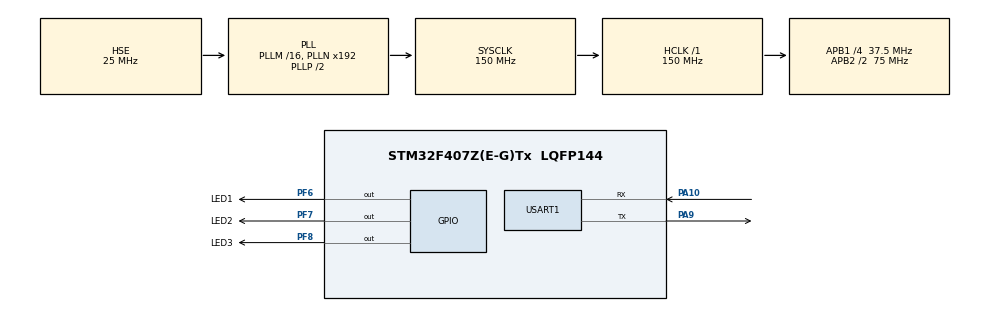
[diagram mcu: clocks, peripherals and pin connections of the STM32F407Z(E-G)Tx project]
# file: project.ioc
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Mcu.Family=STM32F4
Mcu.Name=STM32F407Z(E-G)Tx
Mcu.Package=LQFP144
NVIC.PriorityGroup=NVIC_PRIORITYGROUP_4
PA10.Mode=Asynchronous
PA10.Signal=USART1_RX
PA9.Mode=Asynchronous
PA9.Signal=USART1_TX
PF6.GPIO_Label=LED1
PF6.Signal=GPIO_Output
PF7.GPIO_Label=LED2
PF7.Signal=GPIO_Output
PF8.GPIO_Label=LED3
PF8.Signal=GPIO_Output
PH0-OSC_IN.Mode=HSE-External-Oscillator
PH0-OSC_IN.Signal=RCC_OSC_IN
PH1-OSC_OUT.Mode=HSE-External-Oscillator
PH1-OSC_OUT.Signal=RCC_OSC_OUT
ProjectManager.HeapSize=0x200
ProjectManager.StackSize=0x400
ProjectManager.TargetToolchain=STM32CubeIDE
RCC.48MHZClocksFreq_Value=75000000
RCC.AHBFreq_Value=150000000
RCC.APB1CLKDivider=RCC_HCLK_DIV4
RCC.APB1Freq_Value=37500000
RCC.APB1TimFreq_Value=75000000
RCC.APB2CLKDivider=RCC_HCLK_DIV2
RCC.APB2Freq_Value=75000000
RCC.APB2TimFreq_Value=150000000
RCC.CortexFreq_Value=150000000
RCC.HCLKFreq_Value=150000000
RCC.HSE_VALUE=25000000
RCC.HSI_VALUE=16000000
RCC.LSE_VALUE=32768
RCC.PLLSourceVirtual=RCC_PLLSOURCE_HSE
RCC.SYSCLKFreq_VALUE=150000000
RCC.SYSCLKSource=RCC_SYSCLKSOURCE_PLLCLK
RCC.VCOOutputFreq_Value=300000000
USART1.VirtualMode=VM_ASYNC
board=custom

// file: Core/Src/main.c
/* USER CODE BEGIN Header */
/**
  ******************************************************************************
  * @file           : main.c
  * @brief          : Main program body
  ******************************************************************************
  * @attention
  *
  * Copyright (c) 2026 STMicroelectronics.
  * All rights reserved.
  *
  * This software is licensed under terms that can be found in the LICENSE file
  * in the root directory of this software component.
  * If no LICENSE file comes with this software, it is provided AS-IS.
  *
  ******************************************************************************
  */
/* USER CODE END Header */
#include "main.h"

/* USER CODE BEGIN Includes */
#include <stdio.h>

/* USER CODE END Includes */

UART_HandleTypeDef huart1;

void SystemClock_Config(void);
static void MX_GPIO_Init(void);
static void MX_USART1_UART_Init(void);

/* USER CODE BEGIN 0 */

#ifdef __GNUC__
/* With GCC, small printf (option LD Linker->Libraries->Small printf
   set to 'Yes') calls __io_putchar() */
#define PUTCHAR_PROTOTYPE int __io_putchar(int ch)
#else
#define PUTCHAR_PROTOTYPE int fputc(int ch, FILE *f)
#endif /* __GNUC__ */

/**
  * @brief  Retargets the C library printf function to the USART.
  * @param  None
  * @retval None
  */
PUTCHAR_PROTOTYPE
{
    /* Place your implementation of fputc here */
    /* e.g. write a character to the USART1 and Loop until the end of transmission */

    /* Write a character to the USART */
    if(ch == '\n')
    {
        ch = '\r';
        HAL_UART_Transmit(&huart1, (uint8_t *)&ch, 1, 0xFFFF);
        ch = '\n';
        HAL_UART_Transmit(&huart1, (uint8_t *)&ch, 1, 0xFFFF);
    }else {
        HAL_UART_Transmit(&huart1, (uint8_t *)&ch, 1, 0xFFFF);
    }

    return ch;
}

void System_Information(void)
{
    printf("SYSCLK_Frequency = %d\n", HAL_RCC_GetSysClockFreq());
    printf("HCLK_Frequency = %d\n", HAL_RCC_GetHCLKFreq());
    printf("PCLK1_Frequency = %d\n", HAL_RCC_GetPCLK1Freq());
    printf("PCLK2_Frequency = %d\n", HAL_RCC_GetPCLK2Freq());
}
/* USER CODE END 0 */

int main(void)
{

  /* MCU Configuration--------------------------------------------------------*/

  /* Reset of all peripherals, Initializes the Flash interface and the Systick. */
  HAL_Init();

  /* Configure the system clock */
  SystemClock_Config();

  /* Initialize all configured peripherals */
  MX_GPIO_Init();
  MX_USART1_UART_Init();

  /* Infinite loop */
  /* USER CODE BEGIN WHILE */
  while (1)
  {
    printf("Hello World! - Mango ^)^\n");
    System_Information();
    HAL_Delay(1000);

    /* USER CODE END WHILE */

  }
}

void SystemClock_Config(void)
{
  RCC_OscInitTypeDef RCC_OscInitStruct = {0};
  RCC_ClkInitTypeDef RCC_ClkInitStruct = {0};

  /** Configure the main internal regulator output voltage
  */
  __HAL_RCC_PWR_CLK_ENABLE();
  __HAL_PWR_VOLTAGESCALING_CONFIG(PWR_REGULATOR_VOLTAGE_SCALE1);

  /** Initializes the RCC Oscillators according to the specified parameters
  * in the RCC_OscInitTypeDef structure.
  */
  RCC_OscInitStruct.OscillatorType = RCC_OSCILLATORTYPE_HSE;
  RCC_OscInitStruct.HSEState = RCC_HSE_ON;
  RCC_OscInitStruct.PLL.PLLState = RCC_PLL_ON;
  RCC_OscInitStruct.PLL.PLLSource = RCC_PLLSOURCE_HSE;
  RCC_OscInitStruct.PLL.PLLM = 16;
  RCC_OscInitStruct.PLL.PLLN = 192;
  RCC_OscInitStruct.PLL.PLLP = RCC_PLLP_DIV2;
  RCC_OscInitStruct.PLL.PLLQ = 4;
  if (HAL_RCC_OscConfig(&RCC_OscInitStruct) != HAL_OK)
  {
    Error_Handler();
  }

  /** Initializes the CPU, AHB and APB buses clocks
  */
  RCC_ClkInitStruct.ClockType = RCC_CLOCKTYPE_HCLK|RCC_CLOCKTYPE_SYSCLK
                              |RCC_CLOCKTYPE_PCLK1|RCC_CLOCKTYPE_PCLK2;
  RCC_ClkInitStruct.SYSCLKSource = RCC_SYSCLKSOURCE_PLLCLK;
  RCC_ClkInitStruct.AHBCLKDivider = RCC_SYSCLK_DIV1;
  RCC_ClkInitStruct.APB1CLKDivider = RCC_HCLK_DIV4;
  RCC_ClkInitStruct.APB2CLKDivider = RCC_HCLK_DIV2;

  if (HAL_RCC_ClockConfig(&RCC_ClkInitStruct, FLASH_LATENCY_4) != HAL_OK)
  {
    Error_Handler();
  }
}

static void MX_USART1_UART_Init(void)
{

  huart1.Instance = USART1;
  huart1.Init.BaudRate = 115200;
  huart1.Init.WordLength = UART_WORDLENGTH_8B;
  huart1.Init.StopBits = UART_STOPBITS_1;
  huart1.Init.Parity = UART_PARITY_NONE;
  huart1.Init.Mode = UART_MODE_TX_RX;
  huart1.Init.HwFlowCtl = UART_HWCONTROL_NONE;
  huart1.Init.OverSampling = UART_OVERSAMPLING_16;
  if (HAL_UART_Init(&huart1) != HAL_OK)
  {
    Error_Handler();
  }

}

static void MX_GPIO_Init(void)
{
  GPIO_InitTypeDef GPIO_InitStruct = {0};

  /* GPIO Ports Clock Enable */
  __HAL_RCC_GPIOF_CLK_ENABLE();
  __HAL_RCC_GPIOH_CLK_ENABLE();
  __HAL_RCC_GPIOA_CLK_ENABLE();

  /*Configure GPIO pin Output Level */
  HAL_GPIO_WritePin(GPIOF, LED1_Pin|LED2_Pin|LED3_Pin, GPIO_PIN_RESET);

  /*Configure GPIO pins : LED1_Pin LED2_Pin LED3_Pin */
  GPIO_InitStruct.Pin = LED1_Pin|LED2_Pin|LED3_Pin;
  GPIO_InitStruct.Mode = GPIO_MODE_OUTPUT_PP;
  GPIO_InitStruct.Pull = GPIO_NOPULL;
  GPIO_InitStruct.Speed = GPIO_SPEED_FREQ_LOW;
  HAL_GPIO_Init(GPIOF, &GPIO_InitStruct);

}

void Error_Handler(void)
{
  __disable_irq();
  while (1)
  {
  }
}
